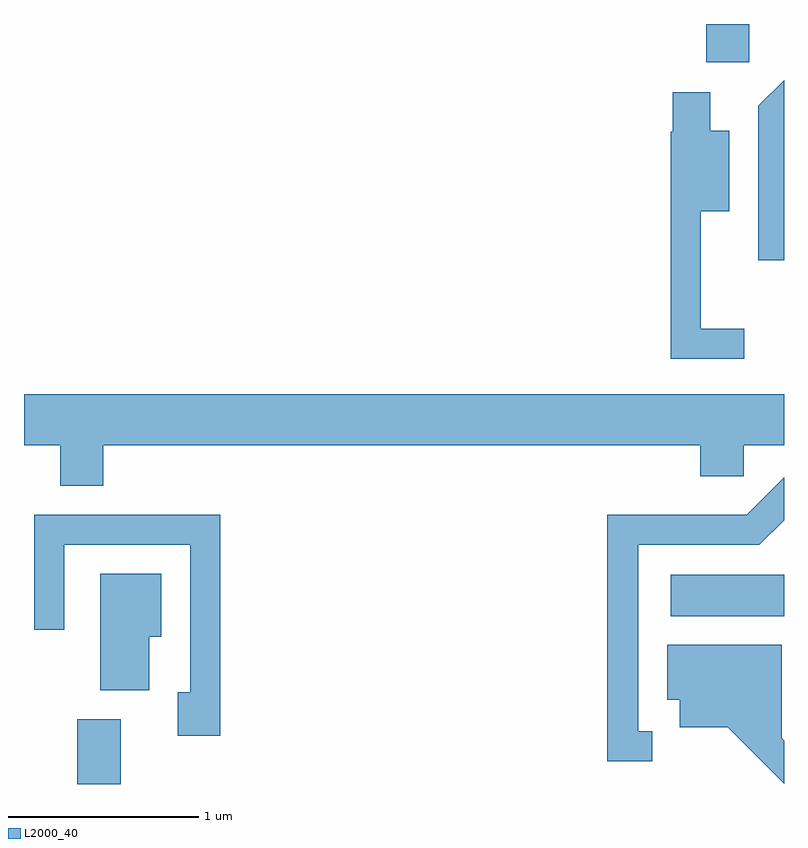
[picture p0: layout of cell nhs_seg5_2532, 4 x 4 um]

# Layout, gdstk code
import gdstk
lib = gdstk.Library(unit=1e-6, precision=1e-09)
def R(c, l, rs):  # rectangles x0, y0, x1, y1
    for r in rs: c.add(gdstk.rectangle(r[:2], r[2:], *l))
def P(c, l, *ps):  # polygons
    for p in ps: c.add(gdstk.Polygon(p, *l))
L2000_40 = (2000, 40)

nhs_seg5_2532 = lib.new_cell('nhs_seg5_2532')
R(nhs_seg5_2532, L2000_40, [(259.891,1506.072,260.119,1506.414), (263.016,1506.956,263.611,1507.174), (263.201,1509.871,263.429,1510.072)])
P(nhs_seg5_2532, L2000_40, [(263.611,1509.776),(263.476,1509.642),(263.476,1508.828),(263.611,1508.828)],
  [(263.403,1508.469),(263.174,1508.469),(263.174,1509.086),(263.324,1509.086),(263.324,1509.509),(263.224,1509.509),(263.224,1509.714),(263.026,1509.714),(263.026,1509.505),(263.016,1509.505),(263.016,1508.311),(263.403,1508.311)],
  [(260.029,1507.856),(263.171,1507.856),(263.171,1507.691),(263.399,1507.691),(263.399,1507.856),(263.611,1507.856),(263.611,1508.124),(259.611,1508.124),(259.611,1507.856),(259.801,1507.856),(259.801,1507.641),(260.029,1507.641)],
  [(262.918,1506.349),(262.844,1506.349),(262.844,1507.331),(263.482,1507.331),(263.611,1507.46),(263.611,1507.686),(263.414,1507.489),(262.681,1507.489),(262.681,1506.191),(262.918,1506.191)],
  [(260.644,1507.489),(259.666,1507.489),(259.666,1506.883),(259.824,1506.883),(259.824,1507.331),(260.486,1507.331),(260.486,1506.554),(260.421,1506.554),(260.421,1506.326),(260.644,1506.326)],
  [(260.269,1506.846),(260.334,1506.846),(260.334,1507.179),(260.011,1507.179),(260.011,1506.566),(260.269,1506.566)],
  [(263.611,1506.3),(263.599,1506.312),(263.599,1506.804),(262.996,1506.804),(262.996,1506.516),(263.061,1506.516),(263.061,1506.371),(263.314,1506.371),(263.611,1506.074)])

lib.write_gds('nhs_seg5_2532.gds')
